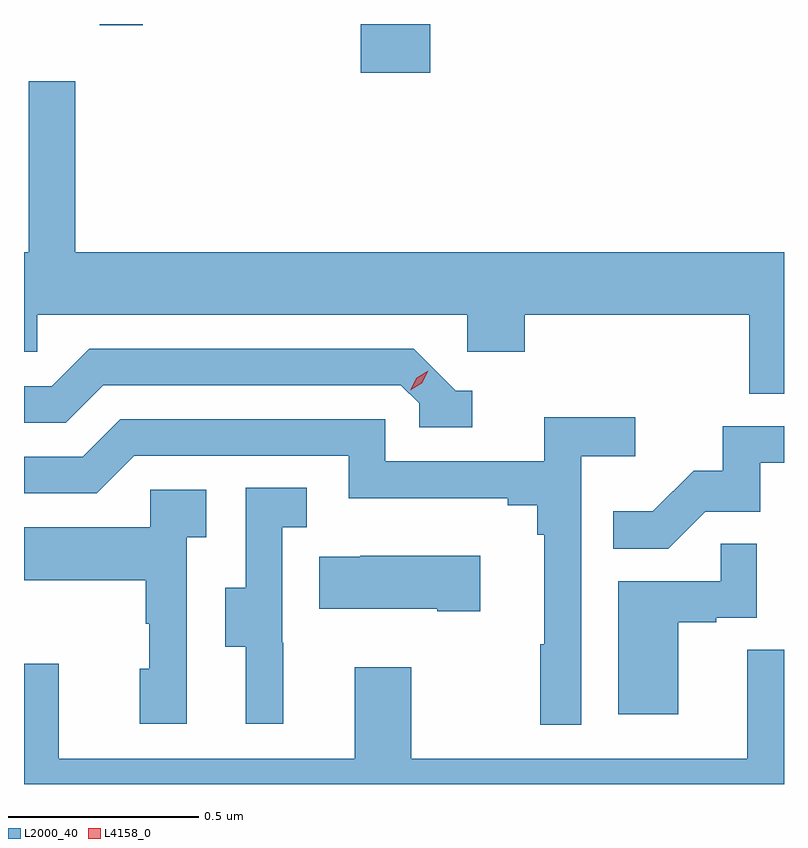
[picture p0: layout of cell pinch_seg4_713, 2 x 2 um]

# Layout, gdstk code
import gdstk
lib = gdstk.Library(unit=1e-6, precision=1e-09)
def R(c, l, rs):  # rectangles x0, y0, x1, y1
    for r in rs: c.add(gdstk.rectangle(r[:2], r[2:], *l))
def P(c, l, *ps):  # polygons
    for p in ps: c.add(gdstk.Polygon(p, *l))
L2000_40 = (2000, 40)
L4158_0 = (4158, 0)

pinch_seg4_713 = lib.new_cell('pinch_seg4_713')
R(pinch_seg4_713, L2000_40, [(1102.394,768.153,1102.577,768.281), (1101.707,768.278,1101.82,768.281)])
P(pinch_seg4_713, L2000_40, [(1103.508,767.68),(1101.643,767.68),(1101.643,768.13),(1101.521,768.13),(1101.521,767.68),(1101.508,767.68),(1101.508,767.418),(1101.543,767.418),(1101.543,767.516),(1102.674,767.516),(1102.674,767.418),(1102.826,767.418),(1102.826,767.516),(1103.417,767.516),(1103.417,767.308),(1103.508,767.308)],
  [(1102.687,767.316),(1102.644,767.316),(1102.533,767.427),(1101.68,767.427),(1101.581,767.328),(1101.508,767.328),(1101.508,767.232),(1101.618,767.232),(1101.717,767.331),(1102.5,767.331),(1102.548,767.283),(1102.548,767.22),(1102.687,767.22)],
  [(1102.974,767.144),(1103.116,767.144),(1103.116,767.246),(1102.877,767.246),(1102.877,767.13),(1102.458,767.13),(1102.458,767.241),(1101.761,767.241),(1101.662,767.142),(1101.508,767.142),(1101.508,767.046),(1101.699,767.046),(1101.798,767.145),(1102.362,767.145),(1102.362,767.033),(1102.781,767.033),(1102.781,767.014),(1102.858,767.014),(1102.858,766.937),(1102.877,766.937),(1102.877,766.649),(1102.866,766.649),(1102.866,766.437),(1102.974,766.437)],
  [(1103.301,766.998),(1103.445,766.998),(1103.445,767.127),(1103.508,767.127),(1103.508,767.223),(1103.347,767.223),(1103.347,767.106),(1103.27,767.106),(1103.163,766.999),(1103.059,766.999),(1103.059,766.9),(1103.203,766.9)],
  [(1102.19,766.653),(1102.188,766.653),(1102.188,766.957),(1102.252,766.957),(1102.252,767.06),(1102.092,767.06),(1102.092,766.797),(1102.037,766.797),(1102.037,766.642),(1102.091,766.642),(1102.091,766.44),(1102.19,766.44)],
  [(1101.936,766.931),(1101.988,766.931),(1101.988,767.055),(1101.84,767.055),(1101.84,766.957),(1101.508,766.957),(1101.508,766.817),(1101.828,766.817),(1101.828,766.703),(1101.838,766.703),(1101.838,766.584),(1101.812,766.584),(1101.812,766.44),(1101.936,766.44)],
  [(1103.23,766.707),(1103.33,766.707),(1103.33,766.719),(1103.436,766.719),(1103.436,766.913),(1103.341,766.913),(1103.341,766.815),(1103.072,766.815),(1103.072,766.464),(1103.23,766.464)],
  [(1102.708,766.882),(1102.393,766.882),(1102.393,766.879),(1102.285,766.879),(1102.285,766.742),(1102.595,766.742),(1102.595,766.735),(1102.708,766.735)],
  [(1103.508,766.634),(1103.411,766.634),(1103.411,766.348),(1102.527,766.348),(1102.527,766.588),(1102.379,766.588),(1102.379,766.348),(1101.599,766.348),(1101.599,766.597),(1101.508,766.597),(1101.508,766.281),(1103.508,766.281)])
P(pinch_seg4_713, L4158_0, [(1102.524,767.317),(1102.524,767.317),(1102.541,767.35),(1102.572,767.369),(1102.572,767.369),(1102.572,767.369),(1102.555,767.336),(1102.524,767.317)])

lib.write_gds('pinch_seg4_713.gds')
